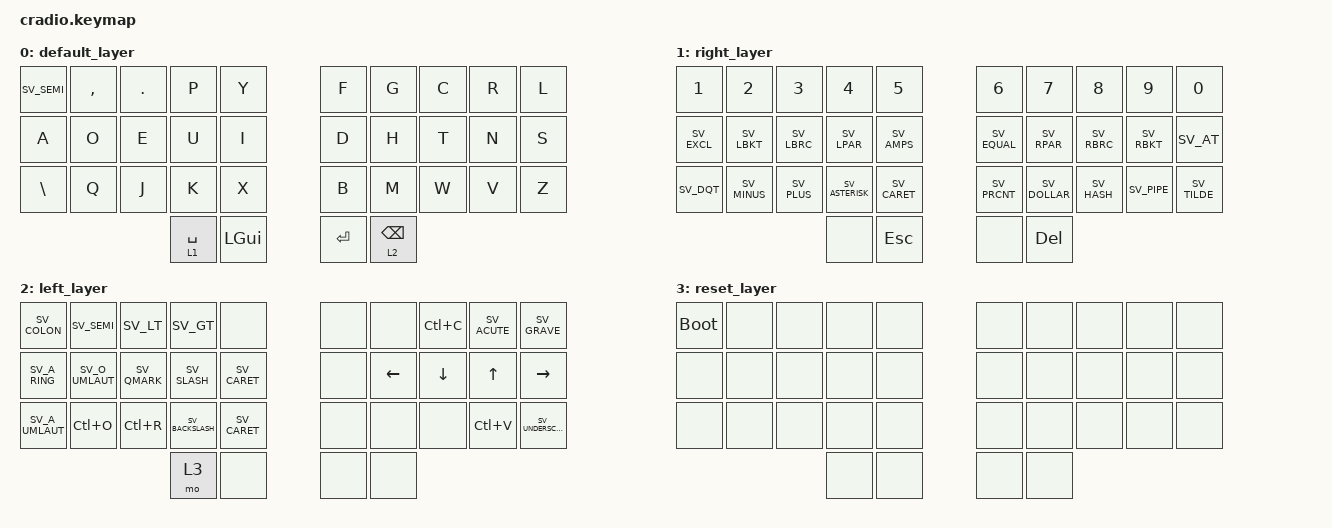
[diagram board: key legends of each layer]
// Copyright (c) 2022 The ZMK Contributors
// SPDX-License-Identifier: MIT

#include <behaviors.dtsi>
#include <dt-bindings/zmk/keys.h>
#include <dt-bindings/zmk/bt.h>
// #include <symbols.dtsi>
#include "keys_sv.h"

// Home row mods macro
#define HRML(k1,k2,k3,k4) &ht LSHFT k1  &ht LALT k2  &ht LCTRL k3  &ht LGUI k4
#define HRMR(k1,k2,k3,k4) &ht RGUI k1  &ht RCTRL k2  &ht RALT k3  &ht RSHFT k4

&lt {
    tapping-term-ms = <130>;
    quick-tap-ms = <130>;
    retro-tap;
};

/ {
    behaviors {
        ht: hold_tap {
            compatible = "zmk,behavior-hold-tap";
            #binding-cells = <2>;
            flavor = "tap-preferred";
            tapping-term-ms = <220>;
            quick-tap-ms = <150>;
            require-prior-idle-ms = <100>;
            bindings = <&kp>, <&kp>;
        };
    };

    combos {
        compatible = "zmk,combos";
        combo_esc {
            timeout-ms = <50>;
            key-positions = <10 11>;
            bindings = <&kp ESC>;
        };
        combo_tab {
            timeout-ms = <50>;
            key-positions = <0 1>;
            bindings = <&kp TAB>;
        };
        combo_sticky_shift {
            timeout-ms = <50>;
            key-positions = <20 21>;
            bindings = <&sk LSHFT>;
        };
        combo_screenshot {
            timeout-ms = <50>;
            key-positions = <14 15>;
            bindings = <&kp LC(LG(S))>;
        };
        combo_aerospace_service {
            timeout-ms = <50>;
            key-positions = <8 9>;
            bindings = <&kp LS(LG(S))>;
        };
    };


    keymap {
        compatible = "zmk,keymap";
        default_layer {
            bindings = <
        //╭──────────┬──────────┬──────────┬──────────┬──────────╮   ╭──────────┬──────────┬──────────┬──────────┬──────────╮
        //│  Q       │  W       │  E       │  R       │  T       │   │  Y       │  U       │  I       │  O       │  P       │
            &kp SV_SEMI  &kp COMMA      &kp DOT      &kp P      &kp Y          &kp F      &kp G      &kp C      &kp R      &kp L
        //├──────────┼──────────┼──────────┼──────────┼──────────┤   ├──────────┼──────────┼──────────┼──────────┼──────────┤
        //│  A       │  S       │  D       │  F       │  G       │   │  H       │  J       │  K       │  L       │ ' "      │
            &kp A     &kp O    &kp E      &kp U      &kp I          &kp D      &kp H    &kp T      &kp N      &kp S
        //├──────────┼──────────┼──────────┼──────────┼──────────┤   ├──────────┼──────────┼──────────┼──────────┼──────────┤
        //│  Z       │  X       │  C       │  V       │  B       │   │  N       │  M       │ , <      │ . >      │ / ?      │
            &kp BSLH      &kp Q      &kp J      &kp K      &kp X          &kp B      &kp M      &kp W  &kp V    &kp Z
        //╰──────────┴──────────┴──────────┼──────────┼──────────┤   ├──────────┼──────────┼──────────┴──────────┴──────────╯
                                            &lt 1 SPACE   &kp LGUI     &kp ENTER  &lt 2 BSPC
        //                                  ╰──────────┴──────────╯   ╰──────────┴──────────╯
            >;
        };

        right_layer {
            bindings = <
        //╭──────────┬──────────┬──────────┬──────────┬──────────╮   ╭──────────┬──────────┬──────────┬──────────┬──────────╮
        //│ INSERT   │  1       │  2       │  3       │          │   │ HOME     │ PAGE DN  │ PAGE UP  │ END      │  :       │
            &kp N1    &kp N2     &kp N3     &kp N4     &kp N5         &kp N6   &kp N7  &kp N8  &kp N9    &kp N0
        //├──────────┼──────────┼──────────┼──────────┼──────────┤   ├──────────┼──────────┼──────────┼──────────┼──────────┤
        //│ DELETE   │  4       │  5       │  6       │          │   │ LEFT     │ DOWN     │ UP       │ RIGHT    │  ;       │
           &kp SV_EXCL &kp SV_LBKT &kp SV_LBRC &kp SV_LPAR &kp SV_AMPS  &kp SV_EQUAL   &kp SV_RPAR   &kp SV_RBRC   &kp SV_RBKT   &kp SV_AT
        //├──────────┼──────────┼──────────┼──────────┼──────────┤   ├──────────┼──────────┼──────────┼──────────┼──────────┤
        //│ CAPS     │  7       │  8       │  9       │  0       │   │          │          │          │          │          │
           &kp SV_DQT &kp SV_MINUS &kp SV_PLUS &kp SV_ASTERISK &kp SV_CARET &kp SV_PRCNT &kp SV_DOLLAR &kp SV_HASH &kp SV_PIPE &kp SV_TILDE
        //╰──────────┴──────────┴──────────┼──────────┼──────────┤   ├──────────┼──────────┼──────────┴──────────┴──────────╯
                                             &none     &kp ESC        &none     &kp DELETE
        //                                 ╰──────────┴──────────╯   ╰──────────┴──────────╯
            >;
        };

        left_layer {
            bindings = <
        //╭──────────┬──────────┬──────────┬──────────┬──────────╮   ╭──────────┬──────────┬──────────┬──────────┬──────────╮
        //│          │  [       │  {       │  }       │          │   │  ^       │  (       │  )       │  ]       │  ~       │
            &kp SV_COLON     &kp SV_SEMI   &kp SV_LT   &kp SV_GT   &none         &none  &none   &kp LC(C)   &kp SV_ACUTE   &kp SV_GRAVE
        //├──────────┼──────────┼──────────┼──────────┼──────────┤   ├──────────┼──────────┼──────────┼──────────┼──────────┤
        //│  !       │  @       │  #       │  $       │  %       │   │  *       │  -       │  =       │  \       │  `       │
            &kp SV_A_RING &kp SV_O_UMLAUT &kp SV_QMARK &kp SV_SLASH &kp SV_CARET &none &kp LEFT &kp DOWN &kp UP  &kp RIGHT
        //├──────────┼──────────┼──────────┼──────────┼──────────┤   ├──────────┼──────────┼──────────┼──────────┼──────────┤
        //│          │          │          │          │          │   │  &       │  _       │  +       │  │       │          │
            &kp SV_A_UMLAUT &kp LC(O) &kp LC(R) &kp SV_BACKSLASH     &kp SV_CARET &none &none &none &kp LC(V) &kp SV_UNDERSCORE
        //╰──────────┴──────────┴──────────┼──────────┼──────────┤   ├──────────┼──────────┼──────────┴──────────┴──────────╯
                                             &mo 3     &none         &none     &none
        //                                 ╰──────────┴──────────╯   ╰──────────┴──────────╯
            >;
        };

        reset_layer {
            bindings = <
        //╭──────────┬──────────┬──────────┬──────────┬──────────╮   ╭──────────┬──────────┬──────────┬──────────┬──────────╮
        //│          │  [       │  {       │  }       │          │   │  ^       │  (       │  )       │  ]       │  ~       │
            &bootloader     &none   &none   &none   &none         &none  &none   &none   &none   &none
        //├──────────┼──────────┼──────────┼──────────┼──────────┤   ├──────────┼──────────┼──────────┼──────────┼──────────┤
        //│  !       │  @       │  #       │  $       │  %       │   │  *       │  -       │  =       │  \       │  `       │
            &none &none &none &none &none &none &none &none &none  &none
        //├──────────┼──────────┼──────────┼──────────┼──────────┤   ├──────────┼──────────┼──────────┼──────────┼──────────┤
        //│          │          │          │          │          │   │  &       │  _       │  +       │  │       │          │
            &none &none &none &none     &none &none &none &none &none &none
        //╰──────────┴──────────┴──────────┼──────────┼──────────┤   ├──────────┼──────────┼──────────┴──────────┴──────────╯
                                             &none     &none         &none     &none
        //                                 ╰──────────┴──────────╯   ╰──────────┴──────────╯
            >;
        };
    };
};
